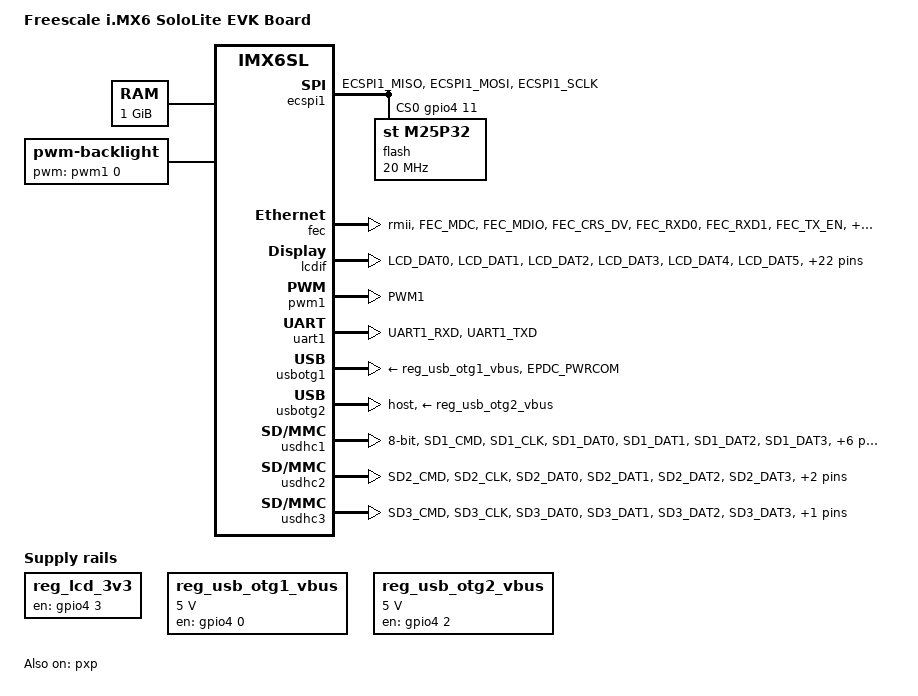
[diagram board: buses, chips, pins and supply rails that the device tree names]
/*
 * Copyright (C) 2013 Freescale Semiconductor, Inc.
 *
 * This program is free software; you can redistribute it and/or modify
 * it under the terms of the GNU General Public License version 2 as
 * published by the Free Software Foundation.
 */

/dts-v1/;

#include "imx6sl.dtsi"

/ {
	model = "Freescale i.MX6 SoloLite EVK Board";
	compatible = "fsl,imx6sl-evk", "fsl,imx6sl";

	memory {
		reg = <0x80000000 0x40000000>;
	};

	regulators {
		compatible = "simple-bus";
		#address-cells = <1>;
		#size-cells = <0>;

		reg_lcd_3v3: lcd-3v3 {
			compatible = "regulator-fixed";
			regulator-name = "lcd-3v3";
			gpio = <&gpio4 3 0>;
			enable-active-high;
		};

		reg_usb_otg1_vbus: regulator@0 {
			compatible = "regulator-fixed";
			reg = <0>;
			regulator-name = "usb_otg1_vbus";
			regulator-min-microvolt = <5000000>;
			regulator-max-microvolt = <5000000>;
			gpio = <&gpio4 0 0>;
			enable-active-high;
		};

		reg_usb_otg2_vbus: regulator@1 {
			compatible = "regulator-fixed";
			reg = <1>;
			regulator-name = "usb_otg2_vbus";
			regulator-min-microvolt = <5000000>;
			regulator-max-microvolt = <5000000>;
			gpio = <&gpio4 2 0>;
			enable-active-high;
		};

		backlight {
			compatible = "pwm-backlight";
			pwms = <&pwm1 0 5000000>;
			brightness-levels = <0 4 8 16 32 64 128 255>;
			default-brightness-level = <6>;
		};
	};
};

&ecspi1 {
	fsl,spi-num-chipselects = <1>;
	cs-gpios = <&gpio4 11 0>;
	pinctrl-names = "default";
	pinctrl-0 = <&pinctrl_ecspi1>;
	status = "okay";

	flash: m25p80@0 {
		#address-cells = <1>;
		#size-cells = <1>;
		compatible = "st,m25p32";
		spi-max-frequency = <20000000>;
		reg = <0>;
	};
};

&fec {
	pinctrl-names = "default";
	pinctrl-0 = <&pinctrl_fec>;
	phy-mode = "rmii";
	status = "okay";
};

&iomuxc {
	pinctrl-names = "default";
	pinctrl-0 = <&pinctrl_hog>;

	imx6sl-evk {
		pinctrl_hog: hoggrp {
			fsl,pins = <
				MX6SL_PAD_KEY_ROW7__GPIO4_IO07    0x17059
				MX6SL_PAD_KEY_COL7__GPIO4_IO06    0x17059
				MX6SL_PAD_SD2_DAT7__GPIO5_IO00    0x17059
				MX6SL_PAD_SD2_DAT6__GPIO4_IO29    0x17059
				MX6SL_PAD_REF_CLK_32K__GPIO3_IO22 0x17059
				MX6SL_PAD_KEY_COL4__GPIO4_IO00	0x80000000
				MX6SL_PAD_KEY_COL5__GPIO4_IO02	0x80000000
			>;
		};

		pinctrl_ecspi1: ecspi1grp {
			fsl,pins = <
				MX6SL_PAD_ECSPI1_MISO__ECSPI1_MISO	0x100b1
				MX6SL_PAD_ECSPI1_MOSI__ECSPI1_MOSI	0x100b1
				MX6SL_PAD_ECSPI1_SCLK__ECSPI1_SCLK	0x100b1
			>;
		};

		pinctrl_fec: fecgrp {
			fsl,pins = <
				MX6SL_PAD_FEC_MDC__FEC_MDC		0x1b0b0
				MX6SL_PAD_FEC_MDIO__FEC_MDIO		0x1b0b0
				MX6SL_PAD_FEC_CRS_DV__FEC_RX_DV		0x1b0b0
				MX6SL_PAD_FEC_RXD0__FEC_RX_DATA0	0x1b0b0
				MX6SL_PAD_FEC_RXD1__FEC_RX_DATA1	0x1b0b0
				MX6SL_PAD_FEC_TX_EN__FEC_TX_EN		0x1b0b0
				MX6SL_PAD_FEC_TXD0__FEC_TX_DATA0	0x1b0b0
				MX6SL_PAD_FEC_TXD1__FEC_TX_DATA1	0x1b0b0
				MX6SL_PAD_FEC_REF_CLK__FEC_REF_OUT	0x4001b0a8
			>;
		};

		pinctrl_lcdif_dat: lcdifdatgrp {
			fsl,pins = <
				MX6SL_PAD_LCD_DAT0__LCD_DATA00 0x1b0b0
				MX6SL_PAD_LCD_DAT1__LCD_DATA01 0x1b0b0
				MX6SL_PAD_LCD_DAT2__LCD_DATA02 0x1b0b0
				MX6SL_PAD_LCD_DAT3__LCD_DATA03 0x1b0b0
				MX6SL_PAD_LCD_DAT4__LCD_DATA04 0x1b0b0
				MX6SL_PAD_LCD_DAT5__LCD_DATA05 0x1b0b0
				MX6SL_PAD_LCD_DAT6__LCD_DATA06 0x1b0b0
				MX6SL_PAD_LCD_DAT7__LCD_DATA07 0x1b0b0
				MX6SL_PAD_LCD_DAT8__LCD_DATA08 0x1b0b0
				MX6SL_PAD_LCD_DAT9__LCD_DATA09 0x1b0b0
				MX6SL_PAD_LCD_DAT10__LCD_DATA10 0x1b0b0
				MX6SL_PAD_LCD_DAT11__LCD_DATA11 0x1b0b0
				MX6SL_PAD_LCD_DAT12__LCD_DATA12 0x1b0b0
				MX6SL_PAD_LCD_DAT13__LCD_DATA13 0x1b0b0
				MX6SL_PAD_LCD_DAT14__LCD_DATA14 0x1b0b0
				MX6SL_PAD_LCD_DAT15__LCD_DATA15 0x1b0b0
				MX6SL_PAD_LCD_DAT16__LCD_DATA16 0x1b0b0
				MX6SL_PAD_LCD_DAT17__LCD_DATA17 0x1b0b0
				MX6SL_PAD_LCD_DAT18__LCD_DATA18 0x1b0b0
				MX6SL_PAD_LCD_DAT19__LCD_DATA19 0x1b0b0
				MX6SL_PAD_LCD_DAT20__LCD_DATA20 0x1b0b0
				MX6SL_PAD_LCD_DAT21__LCD_DATA21 0x1b0b0
				MX6SL_PAD_LCD_DAT22__LCD_DATA22 0x1b0b0
				MX6SL_PAD_LCD_DAT23__LCD_DATA23 0x1b0b0
			>;
		};

		pinctrl_lcdif_ctrl: lcdifctrlgrp {
			fsl,pins = <
				MX6SL_PAD_LCD_CLK__LCD_CLK 0x1b0b0
				MX6SL_PAD_LCD_ENABLE__LCD_ENABLE 0x1b0b0
				MX6SL_PAD_LCD_HSYNC__LCD_HSYNC 0x1b0b0
				MX6SL_PAD_LCD_VSYNC__LCD_VSYNC 0x1b0b0
			>;
		};

		pinctrl_pwm1: pwm1grp {
			fsl,pins = <
				MX6SL_PAD_PWM1__PWM1_OUT 0x110b0
			>;
		};

		pinctrl_pwm1_sleep: pwm1grp-sleep {
			fsl,pins = <
				MX6SL_PAD_PWM1__GPIO3_IO23 0x3080
			>;
		};

		pinctrl_uart1: uart1grp {
			fsl,pins = <
				MX6SL_PAD_UART1_RXD__UART1_RX_DATA	0x1b0b1
				MX6SL_PAD_UART1_TXD__UART1_TX_DATA	0x1b0b1
			>;
		};

		pinctrl_usbotg1: usbotg1grp {
			fsl,pins = <
				MX6SL_PAD_EPDC_PWRCOM__USB_OTG1_ID	0x17059
			>;
		};

		pinctrl_usdhc1: usdhc1grp {
			fsl,pins = <
				MX6SL_PAD_SD1_CMD__SD1_CMD		0x17059
				MX6SL_PAD_SD1_CLK__SD1_CLK		0x10059
				MX6SL_PAD_SD1_DAT0__SD1_DATA0		0x17059
				MX6SL_PAD_SD1_DAT1__SD1_DATA1		0x17059
				MX6SL_PAD_SD1_DAT2__SD1_DATA2		0x17059
				MX6SL_PAD_SD1_DAT3__SD1_DATA3		0x17059
				MX6SL_PAD_SD1_DAT4__SD1_DATA4		0x17059
				MX6SL_PAD_SD1_DAT5__SD1_DATA5		0x17059
				MX6SL_PAD_SD1_DAT6__SD1_DATA6		0x17059
				MX6SL_PAD_SD1_DAT7__SD1_DATA7		0x17059
			>;
		};

		pinctrl_usdhc1_100mhz: usdhc1grp100mhz {
			fsl,pins = <
				MX6SL_PAD_SD1_CMD__SD1_CMD		0x170b9
				MX6SL_PAD_SD1_CLK__SD1_CLK		0x100b9
				MX6SL_PAD_SD1_DAT0__SD1_DATA0		0x170b9
				MX6SL_PAD_SD1_DAT1__SD1_DATA1		0x170b9
				MX6SL_PAD_SD1_DAT2__SD1_DATA2		0x170b9
				MX6SL_PAD_SD1_DAT3__SD1_DATA3		0x170b9
				MX6SL_PAD_SD1_DAT4__SD1_DATA4		0x170b9
				MX6SL_PAD_SD1_DAT5__SD1_DATA5		0x170b9
				MX6SL_PAD_SD1_DAT6__SD1_DATA6		0x170b9
				MX6SL_PAD_SD1_DAT7__SD1_DATA7		0x170b9
			>;
		};

		pinctrl_usdhc1_200mhz: usdhc1grp200mhz {
			fsl,pins = <
				MX6SL_PAD_SD1_CMD__SD1_CMD		0x170f9
				MX6SL_PAD_SD1_CLK__SD1_CLK		0x100f9
				MX6SL_PAD_SD1_DAT0__SD1_DATA0		0x170f9
				MX6SL_PAD_SD1_DAT1__SD1_DATA1		0x170f9
				MX6SL_PAD_SD1_DAT2__SD1_DATA2		0x170f9
				MX6SL_PAD_SD1_DAT3__SD1_DATA3		0x170f9
				MX6SL_PAD_SD1_DAT4__SD1_DATA4		0x170f9
				MX6SL_PAD_SD1_DAT5__SD1_DATA5		0x170f9
				MX6SL_PAD_SD1_DAT6__SD1_DATA6		0x170f9
				MX6SL_PAD_SD1_DAT7__SD1_DATA7		0x170f9
			>;
		};

		pinctrl_usdhc2: usdhc2grp {
			fsl,pins = <
				MX6SL_PAD_SD2_CMD__SD2_CMD		0x17059
				MX6SL_PAD_SD2_CLK__SD2_CLK		0x10059
				MX6SL_PAD_SD2_DAT0__SD2_DATA0		0x17059
				MX6SL_PAD_SD2_DAT1__SD2_DATA1		0x17059
				MX6SL_PAD_SD2_DAT2__SD2_DATA2		0x17059
				MX6SL_PAD_SD2_DAT3__SD2_DATA3		0x17059
			>;
		};

		pinctrl_usdhc2_100mhz: usdhc2grp100mhz {
			fsl,pins = <
				MX6SL_PAD_SD2_CMD__SD2_CMD		0x170b9
				MX6SL_PAD_SD2_CLK__SD2_CLK		0x100b9
				MX6SL_PAD_SD2_DAT0__SD2_DATA0		0x170b9
				MX6SL_PAD_SD2_DAT1__SD2_DATA1		0x170b9
				MX6SL_PAD_SD2_DAT2__SD2_DATA2		0x170b9
				MX6SL_PAD_SD2_DAT3__SD2_DATA3		0x170b9
			>;
		};

		pinctrl_usdhc2_200mhz: usdhc2grp200mhz {
			fsl,pins = <
				MX6SL_PAD_SD2_CMD__SD2_CMD		0x170f9
				MX6SL_PAD_SD2_CLK__SD2_CLK		0x100f9
				MX6SL_PAD_SD2_DAT0__SD2_DATA0		0x170f9
				MX6SL_PAD_SD2_DAT1__SD2_DATA1		0x170f9
				MX6SL_PAD_SD2_DAT2__SD2_DATA2		0x170f9
				MX6SL_PAD_SD2_DAT3__SD2_DATA3		0x170f9
			>;
		};

		pinctrl_usdhc3: usdhc3grp {
			fsl,pins = <
				MX6SL_PAD_SD3_CMD__SD3_CMD		0x17059
				MX6SL_PAD_SD3_CLK__SD3_CLK		0x10059
				MX6SL_PAD_SD3_DAT0__SD3_DATA0		0x17059
				MX6SL_PAD_SD3_DAT1__SD3_DATA1		0x17059
				MX6SL_PAD_SD3_DAT2__SD3_DATA2		0x17059
				MX6SL_PAD_SD3_DAT3__SD3_DATA3		0x17059
			>;
		};

		pinctrl_usdhc3_100mhz: usdhc3grp100mhz {
			fsl,pins = <
				MX6SL_PAD_SD3_CMD__SD3_CMD		0x170b9
				MX6SL_PAD_SD3_CLK__SD3_CLK		0x100b9
				MX6SL_PAD_SD3_DAT0__SD3_DATA0		0x170b9
				MX6SL_PAD_SD3_DAT1__SD3_DATA1		0x170b9
				MX6SL_PAD_SD3_DAT2__SD3_DATA2		0x170b9
				MX6SL_PAD_SD3_DAT3__SD3_DATA3		0x170b9
			>;
		};

		pinctrl_usdhc3_200mhz: usdhc3grp200mhz {
			fsl,pins = <
				MX6SL_PAD_SD3_CMD__SD3_CMD		0x170f9
				MX6SL_PAD_SD3_CLK__SD3_CLK		0x100f9
				MX6SL_PAD_SD3_DAT0__SD3_DATA0		0x170f9
				MX6SL_PAD_SD3_DAT1__SD3_DATA1		0x170f9
				MX6SL_PAD_SD3_DAT2__SD3_DATA2		0x170f9
				MX6SL_PAD_SD3_DAT3__SD3_DATA3		0x170f9
			>;
		};
	};
};

&pxp {
	status = "okay";
};

&lcdif {
	pinctrl-names = "default";
	pinctrl-0 = <&pinctrl_lcdif_dat
		     &pinctrl_lcdif_ctrl>;
	lcd-supply = <&reg_lcd_3v3>;
	display = <&display>;
	status = "okay";

	display: display {
		bits-per-pixel = <16>;
		bus-width = <24>;

		display-timings {
			native-mode = <&timing0>;
			timing0: timing0 {
				clock-frequency = <33500000>;
				hactive = <800>;
				vactive = <480>;
				hback-porch = <89>;
				hfront-porch = <164>;
				vback-porch = <23>;
				vfront-porch = <10>;
				hsync-len = <10>;
				vsync-len = <10>;
				hsync-active = <0>;
				vsync-active = <0>;
				de-active = <1>;
				pixelclk-active = <0>;
			};
		};
	};
};

&pwm1 {
	pinctrl-names = "default", "sleep";
	pinctrl-0 = <&pinctrl_pwm1>;
	pinctrl-1 = <&pinctrl_pwm1_sleep>;
	status = "okay";
};

&uart1 {
	pinctrl-names = "default";
	pinctrl-0 = <&pinctrl_uart1>;
	status = "okay";
};

&usbotg1 {
	vbus-supply = <&reg_usb_otg1_vbus>;
	pinctrl-names = "default";
	pinctrl-0 = <&pinctrl_usbotg1>;
	disable-over-current;
	status = "okay";
};

&usbotg2 {
	vbus-supply = <&reg_usb_otg2_vbus>;
	dr_mode = "host";
	disable-over-current;
	status = "okay";
};

&usdhc1 {
	pinctrl-names = "default", "state_100mhz", "state_200mhz";
	pinctrl-0 = <&pinctrl_usdhc1>;
	pinctrl-1 = <&pinctrl_usdhc1_100mhz>;
	pinctrl-2 = <&pinctrl_usdhc1_200mhz>;
	bus-width = <8>;
	cd-gpios = <&gpio4 7 0>;
	wp-gpios = <&gpio4 6 0>;
	status = "okay";
};

&usdhc2 {
	pinctrl-names = "default", "state_100mhz", "state_200mhz";
	pinctrl-0 = <&pinctrl_usdhc2>;
	pinctrl-1 = <&pinctrl_usdhc2_100mhz>;
	pinctrl-2 = <&pinctrl_usdhc2_200mhz>;
	cd-gpios = <&gpio5 0 0>;
	wp-gpios = <&gpio4 29 0>;
	status = "okay";
};

&usdhc3 {
	pinctrl-names = "default", "state_100mhz", "state_200mhz";
	pinctrl-0 = <&pinctrl_usdhc3>;
	pinctrl-1 = <&pinctrl_usdhc3_100mhz>;
	pinctrl-2 = <&pinctrl_usdhc3_200mhz>;
	cd-gpios = <&gpio3 22 0>;
	status = "okay";
};
